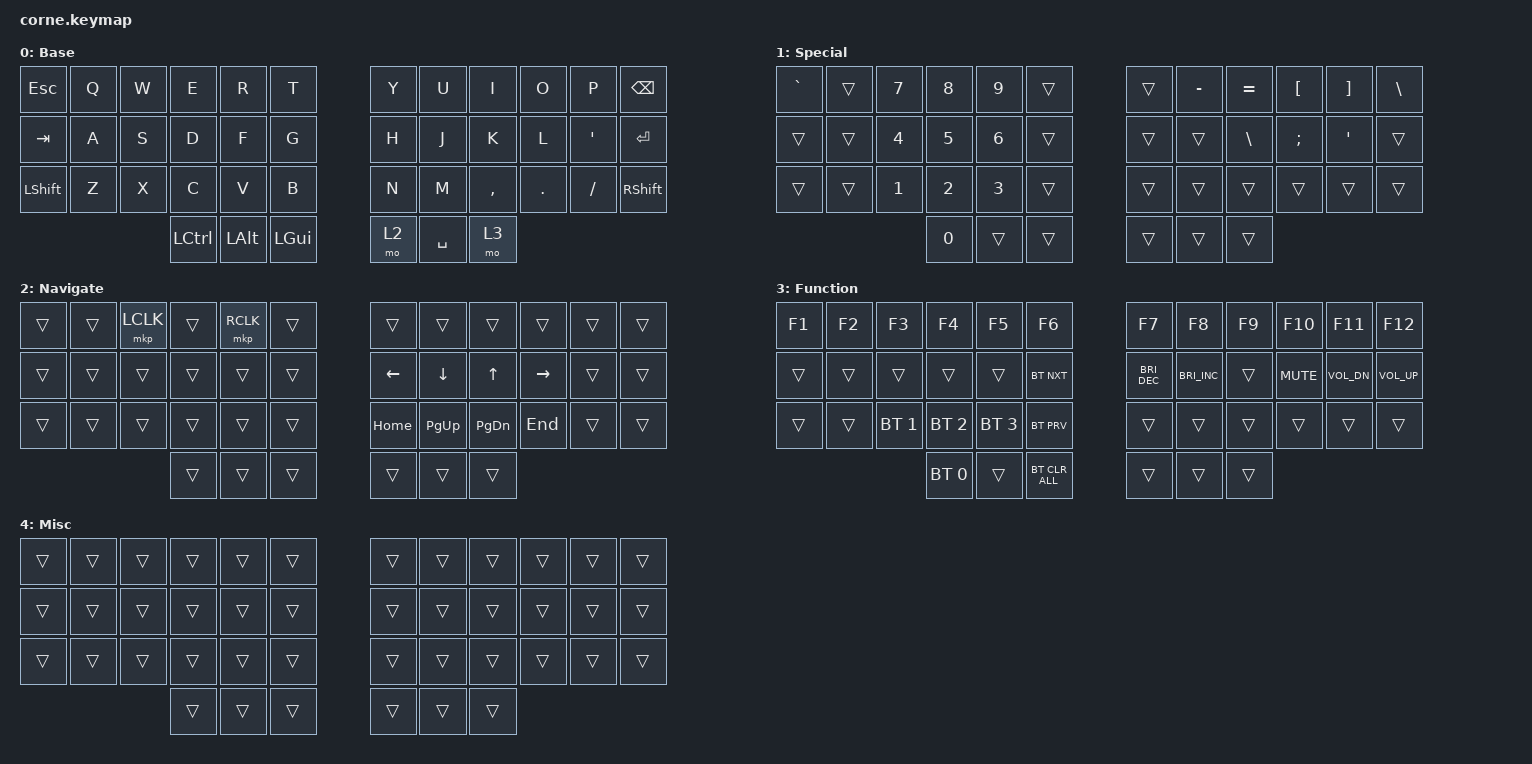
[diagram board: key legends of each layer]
/*
 * Copyright (c) 2020 The ZMK Contributors
 *
 * SPDX-License-Identifier: MIT
 */

#include <behaviors.dtsi>
#include <dt-bindings/zmk/bt.h>
#include <dt-bindings/zmk/keys.h>
#include <dt-bindings/zmk/pointing.h>

/ {
    combos {
        compatible = "zmk,combos";

        combo_esc {
            timeout-ms = <50>;
            key-positions = <24 25>;
            bindings = <&mo 3>;
        };
    };

    keymap {
        compatible = "zmk,keymap";

        default_layer {
            // -----------------------------------------------------------------------------------------
            // |  TAB |  Q  |  W  |  E  |  R  |  T  |   |  Y  |  U   |  I  |  O  |  P  | BKSP |
            // | CTRL |  A  |  S  |  D  |  F  |  G  |   |  H  |  J   |  K  |  L  |  ;  |  '   |
            // | SHFT |  Z  |  X  |  C  |  V  |  B  |   |  N  |  M   |  ,  |  .  |  /  | SHFT |
            //                    |LCTL |LALT |LGUI |   | MO2 | SPC  | MO3 |

            display-name = "Base";
            bindings = <
&kp ESC    &kp Q  &kp W  &kp E      &kp R     &kp T       &kp Y  &kp U    &kp I      &kp O    &kp P     &kp BSPC
&kp TAB    &kp A  &kp S  &kp D      &kp F     &kp G       &kp H  &kp J    &kp K      &kp L    &kp SQT   &kp RET
&kp LSHFT  &kp Z  &kp X  &kp C      &kp V     &kp B       &kp N  &kp M    &kp COMMA  &kp DOT  &kp FSLH  &kp RSHFT
                         &kp LCTRL  &kp LALT  &kp LGUI    &mo 2  &kp SPC  &mo 3
            >;
        };

        special_layer {
            // -----------------------------------------------------------------------------------------
            // | GRAVE|     |  N7 | N8  | N9  |     |   |     |  -_ | =+  |  [{ | ]}  | \|  |
            // |      |     |  N4 | N5  | N6  |     |   |     |     |     |  ;  |  '  |     |
            // |      |     |  N1 | N2  | N3  |     |   |     |     |     |     |     |     |
            //                    | N0  |     |     |   |     |     |     |

            display-name = "Special";
            bindings = <
&kp GRAVE  &trans  &kp N7        &kp N8  &kp N9  &trans    &trans  &kp MINUS  &kp EQUAL      &kp LBKT  &kp RBKT  &kp BSLH
&trans     &trans  &kp N4        &kp N5  &kp N6  &trans    &trans  &trans     &kp BACKSLASH  &kp SEMI  &kp SQT   &trans
&trans     &trans  &kp NUMBER_1  &kp N2  &kp N3  &trans    &trans  &trans     &trans         &trans    &trans    &trans
                                 &kp N0  &trans  &trans    &trans  &trans     &trans
            >;
        };

        navigate_layer {
            // -----------------------------------------------------------------------------------------
            // |      |     |     |     |     |     |   |     |     |     |     |     |      |
            // |      |     |     |     |     |     |   |     |     |     |     |     |      |
            // |      |     |     |     |     |     |   |     |     |     |     |     |      |
            //                    |     |     |     |   |     |     |     |

            display-name = "Navigate";
            bindings = <
&trans  &trans  &mkp LCLK  &trans  &mkp RCLK  &trans    &trans    &trans     &trans     &trans     &trans  &trans
&trans  &trans  &trans     &trans  &trans     &trans    &kp LEFT  &kp DOWN   &kp UP     &kp RIGHT  &trans  &trans
&trans  &trans  &trans     &trans  &trans     &trans    &kp HOME  &kp PG_UP  &kp PG_DN  &kp END    &trans  &trans
                           &trans  &trans     &trans    &trans    &trans     &trans
            >;
        };

        function_layer {
            // -----------------------------------------------------------------------------------------
            // |  F1  | F2  | F3  | F4  | F5  | F6  |   | F7  | F8  | F9  | F10 | F11 | F12  |
            // |      |     |     |     |     |     |   |     |     |     |     |     |      |
            // |      |     |     |     |     |     |   |     |     |     |     |     |      |
            //                    |     |     |     |   |     |     |     |

            display-name = "Function";
            bindings = <
&kp F1  &kp F2  &kp F3        &kp F4        &kp F5        &kp F6            &kp F7                &kp F8                &kp F9  &kp F10     &kp F11       &kp F12
&trans  &trans  &trans        &trans        &trans        &bt BT_NXT        &kp C_BRIGHTNESS_DEC  &kp C_BRIGHTNESS_INC  &trans  &kp K_MUTE  &kp C_VOL_DN  &kp C_VOL_UP
&trans  &trans  &bt BT_SEL 1  &bt BT_SEL 2  &bt BT_SEL 3  &bt BT_PRV        &trans                &trans                &trans  &trans      &trans        &trans
                              &bt BT_SEL 0  &trans        &bt BT_CLR_ALL    &trans                &trans                &trans
            >;
        };

        Misc {
            bindings = <
&trans  &trans  &trans  &trans  &trans  &trans    &trans  &trans  &trans  &trans  &trans  &trans
&trans  &trans  &trans  &trans  &trans  &trans    &trans  &trans  &trans  &trans  &trans  &trans
&trans  &trans  &trans  &trans  &trans  &trans    &trans  &trans  &trans  &trans  &trans  &trans
                        &trans  &trans  &trans    &trans  &trans  &trans
            >;
        };
    };
};
